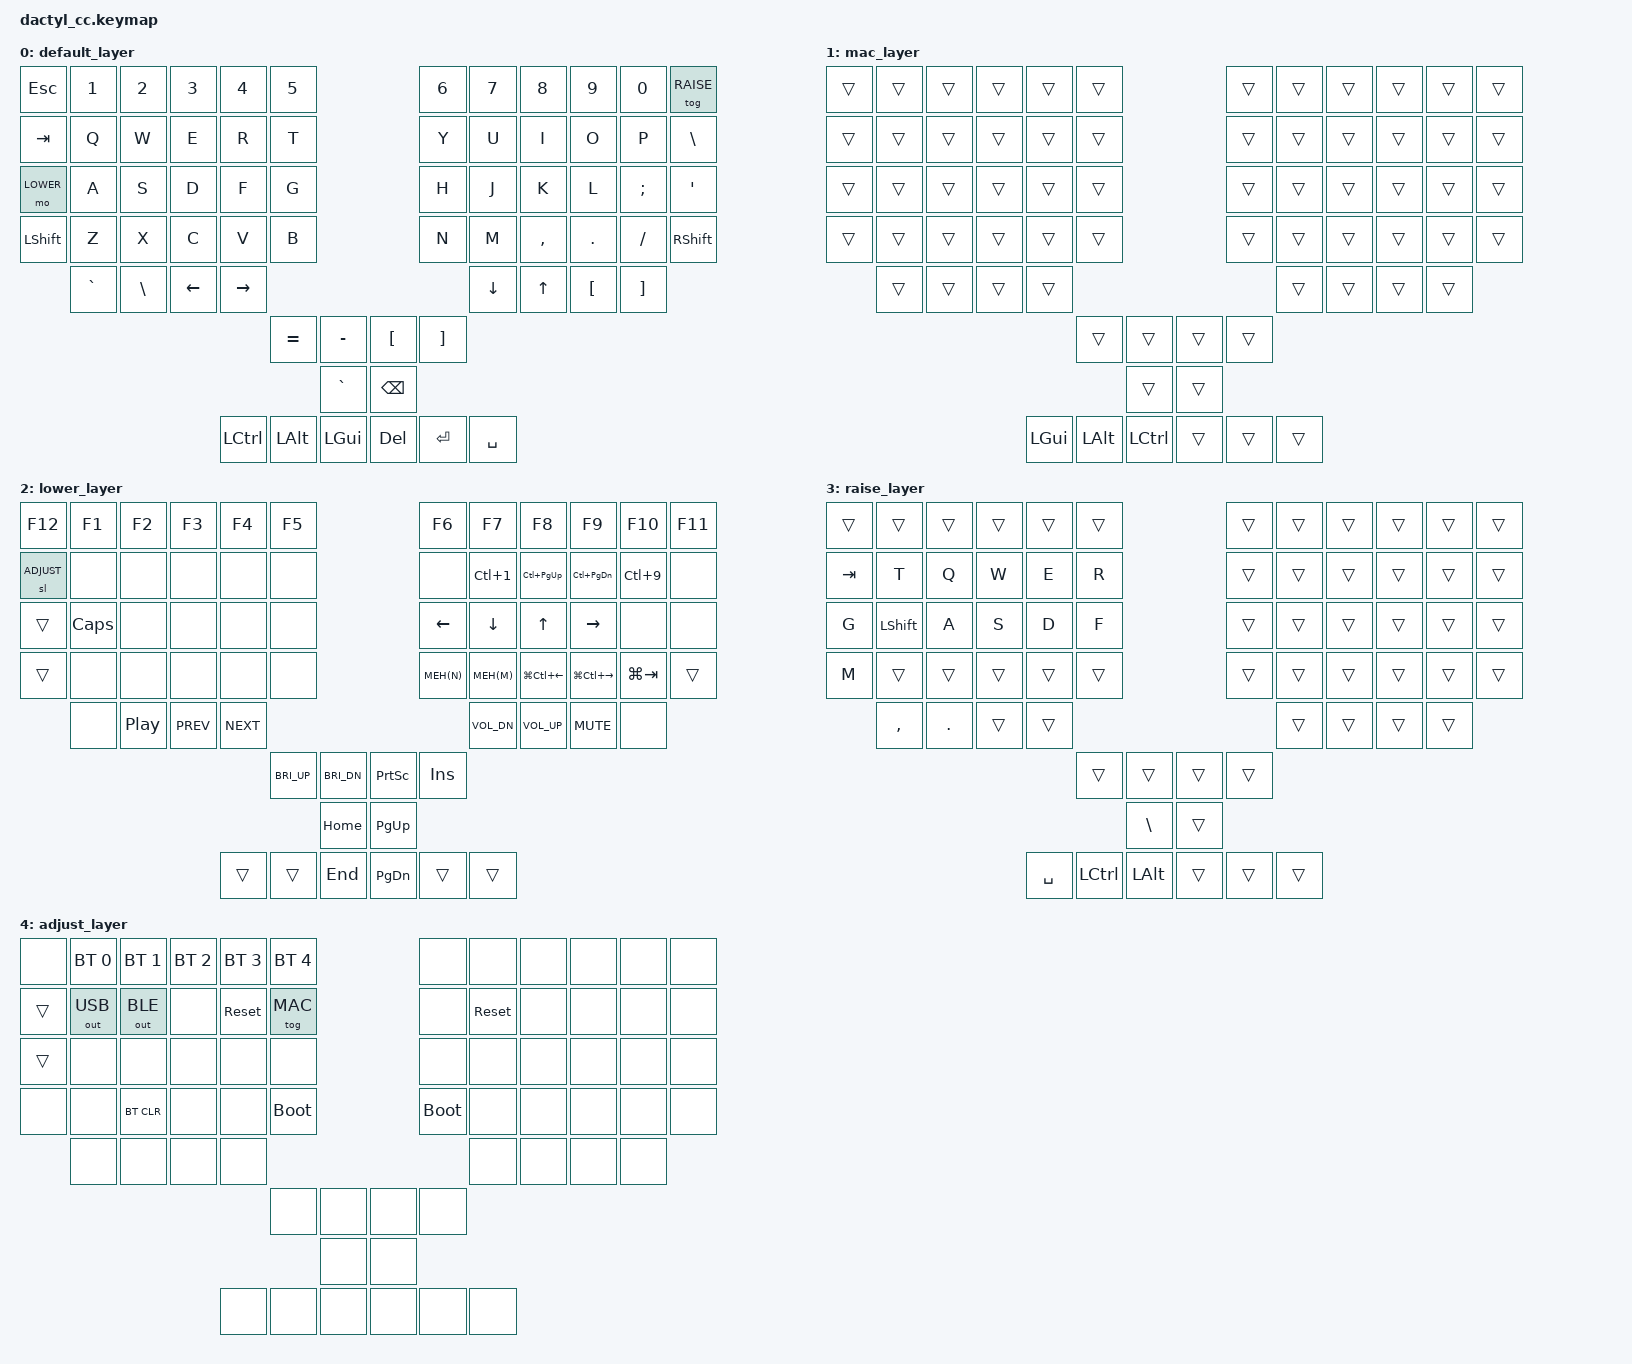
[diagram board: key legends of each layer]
#include <behaviors.dtsi>
#include <dt-bindings/zmk/keys.h>
#include <dt-bindings/zmk/bt.h>
#include <dt-bindings/zmk/outputs.h>

#define DEFAULT 0
#define MAC     1
#define LOWER   2
#define RAISE   3
#define ADJUST  4

#define HYPER(key) LS(LC(LA(LG(key))))
#define MEH(key)   LS(LC(LA(key)))

&sl {
    release-after-ms = <5000>;
};


&kscan0 {
    debounce-press-ms = <30>;
    debounce-release-ms = <30>;
};


/ {
    keymap {
        compatible = "zmk,keymap";

        default_layer {
            bindings = <
    &kp ESC   &kp N1    &kp N2   &kp N3    &kp N4    &kp N5                             &kp N6    &kp N7    &kp N8    &kp N9    &kp N0   &tog RAISE
    &kp TAB   &kp Q     &kp W    &kp E     &kp R     &kp T                              &kp Y     &kp U     &kp I     &kp O     &kp P    &kp BSLH
    &mo LOWER &kp A     &kp S    &kp D     &kp F     &kp G                              &kp H     &kp J     &kp K     &kp L     &kp SEMI &kp SQT
    &kp LSHFT &kp Z     &kp X    &kp C     &kp V     &kp B                              &kp N     &kp M     &kp COMMA &kp DOT   &kp FSLH &kp RSHFT
              &kp GRAVE &kp BSLH &kp LEFT  &kp RIGHT                                              &kp DOWN  &kp UP    &kp LBKT  &kp RBKT
                                                      &kp EQUAL &kp MINUS   &kp LBKT  &kp RBKT
                                                                &kp GRAVE   &kp BSPC
                                            &kp LCTRL &kp LALT  &kp LGUI    &kp DEL   &kp RET   &kp SPACE
            >;
        };

        mac_layer {
            bindings = <
    &trans   &trans     &trans     &trans     &trans     &trans                     &trans     &trans    &trans    &trans    &trans   &trans  
    &trans   &trans     &trans     &trans     &trans     &trans                     &trans     &trans    &trans    &trans    &trans   &trans  
    &trans   &trans     &trans     &trans     &trans     &trans                     &trans     &trans    &trans    &trans    &trans   &trans  
    &trans   &trans     &trans     &trans     &trans     &trans                     &trans     &trans    &trans    &trans    &trans   &trans  
             &trans     &trans     &trans     &trans                                           &trans    &trans    &trans    &trans 
                                                         &trans  &trans     &trans  &trans 
                                                                 &trans     &trans    
                                              &kp LGUI &kp LALT  &kp LCTRL  &trans  &trans     &trans    
            >;
        };

        lower_layer {
            bindings = <
    &kp F12    &kp F1    &kp F2   &kp F3     &kp F4    &kp F5                            &kp F6        &kp F7       &kp F8           &kp F9            &kp F10     &kp F11
    &sl ADJUST &none     &none    &none      &none     &none                             &none         &kp LC(1)    &kp LC(PG_UP)    &kp LC(PG_DN)     &kp LC(9)   &none 
    &trans     &kp CAPS  &none    &none      &none     &none                             &kp LEFT      &kp DOWN     &kp UP           &kp RIGHT         &none       &none 
    &trans     &none     &none    &none      &none     &none                             &kp MEH(N)    &kp MEH(M)   &kp LG(LC(LEFT)) &kp LG(LC(RIGHT)) &kp LG(TAB) &trans 
               &none     &kp C_PP &kp C_PREV &kp C_NEXT                                                &kp C_VOL_DN &kp C_VOL_UP     &kp C_MUTE        &none 
                                                   &kp C_BRI_UP &kp C_BRI_DN   &kp PSCRN &kp INS
                                                                &kp HOME       &kp PG_UP
                                            &trans &trans       &kp END        &kp PG_DN &trans    &trans   
            >;       };

        raise_layer {
            bindings = <
    &trans    &trans    &trans   &trans    &trans    &trans                          &trans    &trans    &trans    &trans    &trans    &trans
    &kp TAB   &kp T     &kp Q    &kp W     &kp E     &kp R                           &trans    &trans    &trans    &trans    &trans    &trans
    &kp G     &kp LSHFT &kp A    &kp S     &kp D     &kp F                           &trans    &trans    &trans    &trans    &trans    &trans
    &kp M     &trans    &trans   &trans    &trans    &trans                          &trans    &trans    &trans    &trans    &trans    &trans
              &kp COMMA &kp DOT  &trans    &trans                                              &trans    &trans    &trans    &trans
                                                     &trans    &trans      &trans    &trans
                                                               &kp BSLH    &trans   
                                           &kp SPACE &kp LCTRL &kp LALT    &trans    &trans    &trans   
            >;
        };

        adjust_layer {
            bindings = <
    &none     &bt BT_SEL 0 &bt BT_SEL 1 &bt BT_SEL 2 &bt BT_SEL 3 &bt BT_SEL 4                         &none       &none      &none     &none     &none    &none  
    &trans    &out OUT_USB &out OUT_BLE &none        &sys_reset   &tog MAC                             &none       &sys_reset &none     &none     &none    &none   
    &trans    &none        &none        &none        &none        &none                                &none       &none      &none     &none     &none    &none   
    &none     &none        &bt BT_CLR   &none        &none        &bootloader                          &bootloader &none      &none     &none     &none    &none   
              &none        &none        &none        &none                                                         &none      &none     &none     &none 
                                                                  &none       &none       &none     &none 
                                                                              &none       &none    
                                                         &none    &none       &none       &none     &none     &none    
            >;
        };
    };
};
